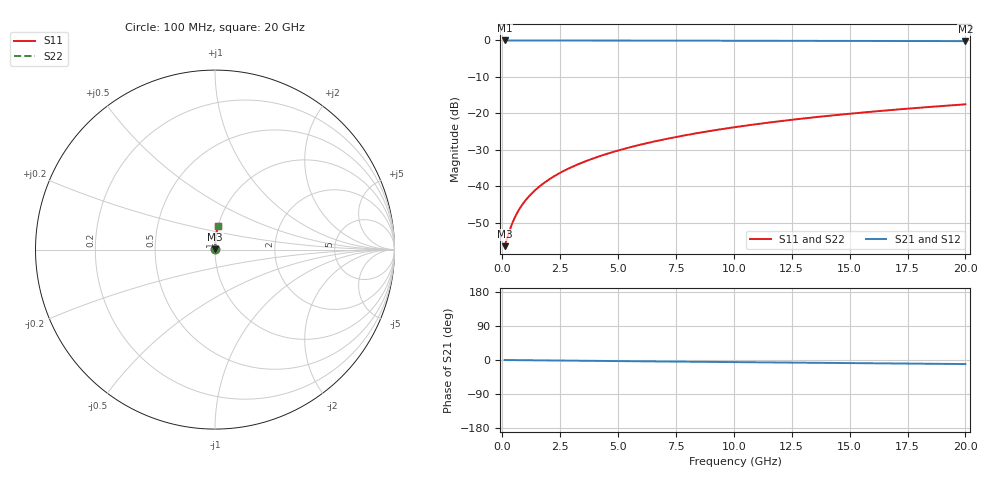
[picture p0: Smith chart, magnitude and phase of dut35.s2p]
! Touchstone file exported from HFSS 2024.1.0
!  File:  C:/UserFiles/LocalFiles/RDL_TSV_Batchsim/temp_RDL_bottom_35_1778692336.aedt
!  Generated:  01:14:45 AM May 14, 2026
!  Design:  RDL_bottom
!  Project:  temp_RDL_bottom_35_1778692336
!  Setup:  Setup1
!  Solution:  Sweep
! Variables:
!  dtsv = 10.80580581um
!  hbump = 3um
!  htsv = 69.86um
!  ldown = 107.96um
!  lrdl = 100um
!  p = 40
!  p1 = 46.87um
!  rhole = 1um
!  t = 450um
!  tdown = 2.04um
!  trdl = 3.915915916um
!  wdown = 20.32um
!  wrdl = 20um
# GHz S MA R 50.000000
! Terminal data exported
! Port[1] = RDL1_T1
! Port[2] = RDL1_T2
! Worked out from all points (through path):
!   200 points, 100 MHz to 20 GHz, reference 50 ohm
!   highest |S21| = -0.01 dB at 100 MHz (marker M1); lowest = -0.2 dB at 20 GHz (marker M2)
!   group delay of S21, straight-line fit = 1.47 ps
!   lowest |S11| = -56.5 dB at 100 MHz (marker M3), VSWR 1.00, Z = 50.1 + j0.0648 ohm
!   |S11| at or under -10 dB: start of sweep to end of sweep
!   |S22| runs from -56.5 to -17.6 dB; largest |S21 - S12| = 6.1e-15
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0.1  0.001498 25.5  0.9986 -0.1  0.9986 -0.1  0.001498 25.5
! Gamma 0 0 0 0
! Port Impedance 50 0 50 0
0.3  0.002373 54.0  0.9986 -0.2  0.9986 -0.2  0.002373 54.0
0.4  0.002915 60.8  0.9986 -0.2  0.9986 -0.2  0.002915 60.8
0.5  0.003477 65.3  0.9985 -0.3  0.9985 -0.3  0.003477 65.3
0.6  0.004048 68.6  0.9985 -0.4  0.9985 -0.4  0.004048 68.6
0.7  0.004621 71.0  0.9984 -0.4  0.9984 -0.4  0.004621 71.0
0.9  0.005774 74.5  0.9983 -0.5  0.9983 -0.5  0.005774 74.5
1.2  0.007514 77.9  0.9982 -0.7  0.9982 -0.7  0.007514 77.9
1.4  0.008682 79.5  0.9981 -0.8  0.9981 -0.8  0.008682 79.5
1.7  0.01045 81.3  0.998 -1.0  0.998 -1.0  0.01045 81.3
2.2  0.01342 83.4  0.9977 -1.3  0.9977 -1.3  0.01342 83.4
2.8  0.01705 85.0  0.9973 -1.6  0.9973 -1.6  0.01705 85.0
3.5  0.02134 86.2  0.9968 -2.0  0.9968 -2.0  0.02134 86.2
4.2  0.02571 87.0  0.9962 -2.4  0.9962 -2.4  0.02571 87.0
5  0.03079 87.6  0.9955 -2.9  0.9955 -2.9  0.03079 87.6
5.9  0.03661 87.9  0.9946 -3.4  0.9946 -3.4  0.03661 87.9
6.8  0.04253 88.0  0.9936 -3.9  0.9936 -3.9  0.04253 88.0
8.4  0.05325 87.9  0.9918 -4.7  0.9918 -4.7  0.05325 87.9
10.1  0.06483 87.3  0.9899 -5.6  0.9899 -5.6  0.06483 87.3
13.4  0.08752 85.8  0.986 -7.4  0.986 -7.4  0.08752 85.8
16.7  0.1102 84.0  0.9821 -9.0  0.9821 -9.0  0.1102 84.0
20  0.1326 82.1  0.978 -10.7  0.978 -10.7  0.1326 82.1
